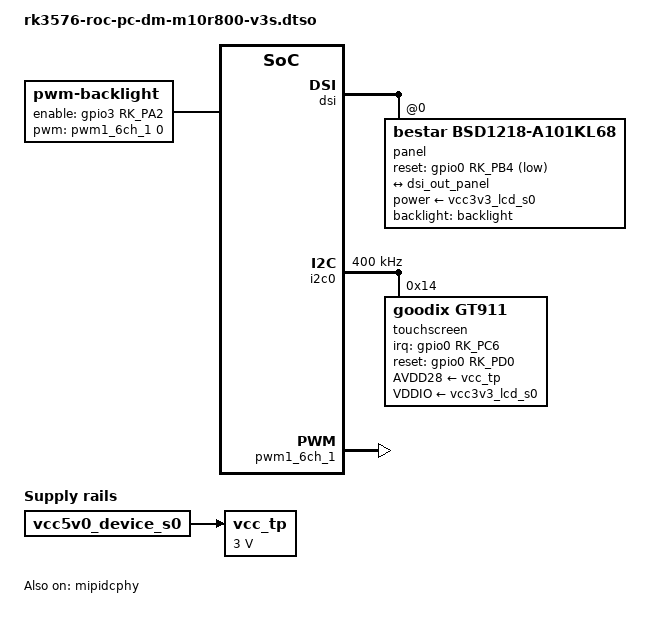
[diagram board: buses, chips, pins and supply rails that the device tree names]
// SPDX-License-Identifier: (GPL-2.0+ OR MIT)
/*
 * Copyright (C) 2025 Heiko Stuebner <heiko@sntech.de>
 *
 * DM-M10R800-V3S display module for ROC-RK3576-PC
 * https://en.t-firefly.com/doc/download/303.html
 *
 * DT-overlay for the DM-M10R800-V3S display module when connected to a
 * ROC-RK3576-PC board. It contains a bestar,bsd1218-a101kl68 display
 * and a Goodix GT911 touchscreen in one enclosed case.
 */

/dts-v1/;
/plugin/;

#include <dt-bindings/gpio/gpio.h>
#include <dt-bindings/interrupt-controller/irq.h>
#include <dt-bindings/pinctrl/rockchip.h>
#include <dt-bindings/soc/rockchip,vop2.h>

&{/} {
	backlight: backlight {
		compatible = "pwm-backlight";
		enable-gpios = <&gpio3 RK_PA2 GPIO_ACTIVE_HIGH>;
		pinctrl-names = "default";
		pinctrl-0 = <&mipi_bl_en>;
		pwms = <&pwm1_6ch_1 0 50000 1>;
	};

	vcc_tp: regulator-vcc-tp {
		compatible = "regulator-fixed";
		regulator-name = "vcc-tp";
		regulator-min-microvolt = <3000000>;
		regulator-max-microvolt = <3000000>;
		vin-supply = <&vcc5v0_device_s0>;
	};
};

&dsi {
	#address-cells = <1>;
	#size-cells = <0>;
	status = "okay";

	panel@0 {
		compatible = "bestar,bsd1218-a101kl68", "ilitek,ili9881c";
		reg = <0>;
		backlight = <&backlight>;
		power-supply = <&vcc3v3_lcd_s0>;
		pinctrl-names = "default";
		pinctrl-0 = <&lcd_reset_l>;
		reset-gpios = <&gpio0 RK_PB4 GPIO_ACTIVE_LOW>;

		port {
			mipi_panel_in: endpoint {
				remote-endpoint = <&dsi_out_panel>;
			};
		};
	};
};

&dsi_in {
	dsi_in_vp1: endpoint {
		remote-endpoint = <&vp1_out_dsi>;
	};
};

&dsi_out {
	dsi_out_panel: endpoint {
		remote-endpoint = <&mipi_panel_in>;
	};
};

&i2c0 {
	/* GT911 is limited to 400KHz */
	clock-frequency = <400000>;
	pinctrl-names = "default";
	pinctrl-0 = <&i2c0m1_xfer>;
	#address-cells = <1>;
	#size-cells = <0>;
	status = "okay";

	touchscreen@14 {
		compatible = "goodix,gt911";
		reg = <0x14>;
		interrupt-parent = <&gpio0>;
		interrupts = <RK_PC6 IRQ_TYPE_LEVEL_LOW>;
		irq-gpios = <&gpio0 RK_PC6 GPIO_ACTIVE_HIGH>;
		pinctrl-names = "default";
		pinctrl-0 = <&touch_int>, <&touch_reset>;
		reset-gpios = <&gpio0 RK_PD0 GPIO_ACTIVE_HIGH>;
		AVDD28-supply = <&vcc_tp>;
		VDDIO-supply = <&vcc3v3_lcd_s0>;
	};
};

&mipidcphy {
	status = "okay";
};

&pinctrl {
	dsi {
		lcd_reset_l: lcd-reset-l {
			rockchip,pins = <0 RK_PB4 RK_FUNC_GPIO &pcfg_pull_none>;
		};

		mipi_bl_en: mipi-bl-en {
			rockchip,pins = <3 RK_PA2 RK_FUNC_GPIO &pcfg_pull_none>;
		};
	};

	touch {
		touch_int: touch-int {
			rockchip,pins = <0 RK_PC6 RK_FUNC_GPIO &pcfg_pull_up>;
		};

		touch_reset: touch-reset {
			rockchip,pins = <0 RK_PD0 RK_FUNC_GPIO &pcfg_pull_none>;
		};
	};
};

&pwm1_6ch_1 {
	status = "okay";
};

&vp1 {
	#address-cells = <1>;
	#size-cells = <0>;

	vp1_out_dsi: endpoint@ROCKCHIP_VOP2_EP_MIPI0 {
		reg = <ROCKCHIP_VOP2_EP_MIPI0>;
		remote-endpoint = <&dsi_in_vp1>;
	};
};
